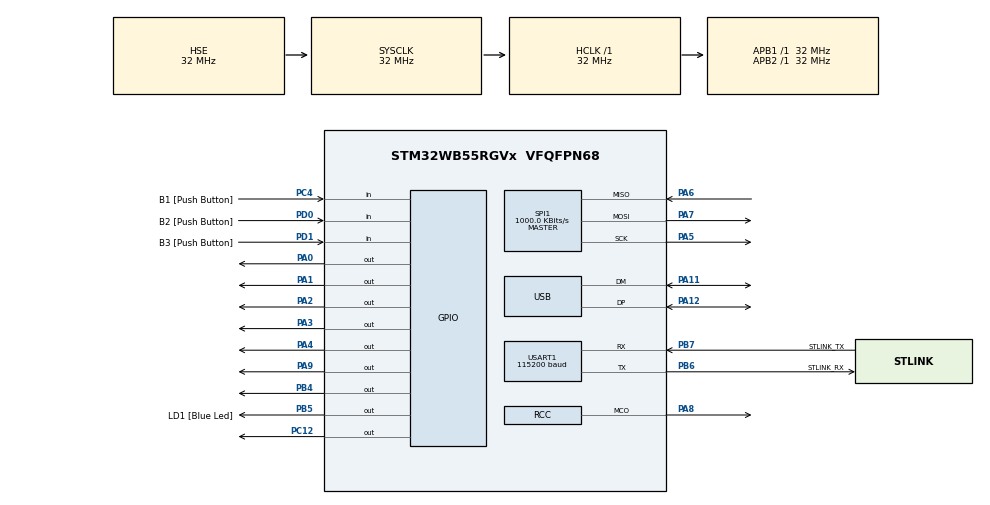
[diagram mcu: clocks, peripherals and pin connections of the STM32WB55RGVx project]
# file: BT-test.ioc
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Dma.Request0=USART1_RX
Dma.Request1=USART1_TX
Dma.USART1_RX.0.Direction=DMA_PERIPH_TO_MEMORY
Dma.USART1_RX.0.EventEnable=DISABLE
Dma.USART1_RX.0.Instance=DMA1_Channel1
Dma.USART1_RX.0.MemDataAlignment=DMA_MDATAALIGN_BYTE
Dma.USART1_RX.0.MemInc=DMA_MINC_ENABLE
Dma.USART1_RX.0.Mode=DMA_NORMAL
Dma.USART1_RX.0.PeriphDataAlignment=DMA_PDATAALIGN_BYTE
Dma.USART1_RX.0.PeriphInc=DMA_PINC_DISABLE
Dma.USART1_RX.0.Polarity=HAL_DMAMUX_REQ_GEN_RISING
Dma.USART1_RX.0.Priority=DMA_PRIORITY_LOW
Dma.USART1_RX.0.RequestNumber=1
Dma.USART1_RX.0.SignalID=NONE
Dma.USART1_RX.0.SyncEnable=DISABLE
Dma.USART1_RX.0.SyncPolarity=HAL_DMAMUX_SYNC_NO_EVENT
Dma.USART1_RX.0.SyncRequestNumber=1
Dma.USART1_RX.0.SyncSignalID=NONE
Dma.USART1_TX.1.Direction=DMA_MEMORY_TO_PERIPH
Dma.USART1_TX.1.EventEnable=DISABLE
Dma.USART1_TX.1.Instance=DMA1_Channel2
Dma.USART1_TX.1.MemDataAlignment=DMA_MDATAALIGN_BYTE
Dma.USART1_TX.1.MemInc=DMA_MINC_ENABLE
Dma.USART1_TX.1.Mode=DMA_NORMAL
Dma.USART1_TX.1.PeriphDataAlignment=DMA_PDATAALIGN_BYTE
Dma.USART1_TX.1.PeriphInc=DMA_PINC_DISABLE
Dma.USART1_TX.1.Polarity=HAL_DMAMUX_REQ_GEN_RISING
Dma.USART1_TX.1.Priority=DMA_PRIORITY_LOW
Dma.USART1_TX.1.RequestNumber=1
Dma.USART1_TX.1.SignalID=NONE
Dma.USART1_TX.1.SyncEnable=DISABLE
Dma.USART1_TX.1.SyncPolarity=HAL_DMAMUX_SYNC_NO_EVENT
Dma.USART1_TX.1.SyncRequestNumber=1
Dma.USART1_TX.1.SyncSignalID=NONE
Mcu.Family=STM32WB
Mcu.Name=STM32WB55RGVx
Mcu.Package=VFQFPN68
NVIC.DMA1_Channel1_IRQn=true\:0\:0\:false\:false\:true\:false\:true\:true
NVIC.DMA1_Channel2_IRQn=true\:0\:0\:false\:false\:true\:false\:true\:true
NVIC.HSEM_IRQn=true\:0\:0\:false\:false\:true\:false\:true\:true
NVIC.IPCC_C1_RX_IRQn=true\:0\:0\:false\:false\:true\:true\:true\:true
NVIC.IPCC_C1_TX_IRQn=true\:0\:0\:false\:false\:true\:true\:true\:true
NVIC.PriorityGroup=NVIC_PRIORITYGROUP_4
NVIC.RTC_WKUP_IRQn=true\:0\:0\:false\:false\:true\:true\:true\:true
NVIC.SPI1_IRQn=true\:0\:0\:false\:false\:true\:true\:true\:true
NVIC.USART1_IRQn=true\:0\:0\:false\:false\:true\:true\:true\:true
OSC_IN.Mode=HSE-External-Oscillator
OSC_IN.Signal=RCC_OSC_IN
OSC_OUT.Mode=HSE-External-Oscillator
OSC_OUT.Signal=RCC_OSC_OUT
PA0.Signal=GPIO_Output
PA1.Signal=GPIO_Output
PA11.Mode=Device
PA11.Signal=USB_DM
PA12.Mode=Device
PA12.Signal=USB_DP
PA13.GPIO_Label=JTMS
PA13.Mode=Serial_Wire
PA13.Signal=SYS_JTMS-SWDIO
PA14.GPIO_Label=JTCK
PA14.Mode=Serial_Wire
PA14.Signal=SYS_JTCK-SWCLK
PA2.Signal=GPIO_Output
PA3.Signal=GPIO_Output
PA4.Signal=GPIO_Output
PA5.Mode=Full_Duplex_Master
PA5.Signal=SPI1_SCK
PA6.Mode=Full_Duplex_Master
PA6.Signal=SPI1_MISO
PA7.Mode=Full_Duplex_Master
PA7.Signal=SPI1_MOSI
PA8.Mode=Clock-out
PA8.Signal=RCC_MCO
PA9.Signal=GPIO_Output
PB3.GPIO_Label=JTDO
PB3.Signal=SYS_JTDO-SWO
PB4.Signal=GPIO_Output
PB5.GPIO_Label=LD1 [Blue Led]
PB5.Signal=GPIO_Output
PB6.GPIO_Label=STLINK_RX
PB6.GPIO_PuPd=GPIO_PULLUP
PB6.Mode=Asynchronous
PB6.Signal=USART1_TX
PB7.GPIO_Label=STLINK_TX
PB7.GPIO_PuPd=GPIO_PULLUP
PB7.Mode=Asynchronous
PB7.Signal=USART1_RX
PC12.Signal=GPIO_Output
PC13.Signal=SYS_WKUP2
PC14-OSC32_IN.Mode=LSE-External-Oscillator
PC14-OSC32_IN.Signal=RCC_OSC32_IN
PC15-OSC32_OUT.Mode=LSE-External-Oscillator
PC15-OSC32_OUT.Signal=RCC_OSC32_OUT
PC4.GPIO_Label=B1 [Push Button]
PC4.Signal=GPIO_Input
PD0.GPIO_Label=B2 [Push Button]
PD0.Signal=GPIO_Input
PD1.GPIO_Label=B3 [Push Button]
PD1.Signal=GPIO_Input
ProjectManager.HeapSize=0x200
ProjectManager.StackSize=0x400
ProjectManager.TargetToolchain=STM32CubeIDE
RCC.ADCFreq_Value=48000000
RCC.AHBFreq_Value=32000000
RCC.APB1Freq_Value=32000000
RCC.APB1TimFreq_Value=32000000
RCC.APB2Freq_Value=32000000
RCC.APB2TimFreq_Value=32000000
RCC.APB3Freq_Value=16000000
RCC.CortexFreq_Value=32000000
RCC.HCLKFreq_Value=32000000
RCC.HSE_VALUE=32000000
RCC.HSI48_VALUE=48000000
RCC.HSI_VALUE=16000000
RCC.PLLN=32
RCC.PLLP=RCC_PLLP_DIV7
RCC.PLLSAI1N=24
RCC.RFWKPClockSelection=RCC_RFWKPCLKSOURCE_LSE
RCC.SMPSCLockSelectionVirtual=RCC_SMPSCLKSOURCE_HSI
RCC.SMPSCLockSelectionVirtualVirtual=RCC_SMPSCLKSOURCE_HSI
RCC.SMPSDivider=1
RCC.SYSCLKFreq_VALUE=32000000
RCC.SYSCLKSource=RCC_SYSCLKSOURCE_HSE
RCC.USBFreq_Value=48000000
RCC.VCOOutputFreq_Value=128000000
RF1.Mode=RF1_Activate
RF1.Signal=RF_RF1
SPI1.BaudRatePrescaler=SPI_BAUDRATEPRESCALER_32
SPI1.CalculateBaudRate=1000.0 KBits/s
SPI1.DataSize=SPI_DATASIZE_8BIT
SPI1.Direction=SPI_DIRECTION_2LINES
SPI1.Mode=SPI_MODE_MASTER
SPI1.NSSPMode=SPI_NSS_PULSE_DISABLE
SPI1.VirtualType=VM_MASTER
STM32_WPAN.AD_TYPE_COMPLETE_LOCAL_NAME=SMRTGLV
STM32_WPAN.AD_TYPE_COMPLETE_LOCAL_NAME_LENGTH=8
STM32_WPAN.CFG_GAP_DEVICE_NAME=smartGlv
STM32_WPAN.CUSTOM_P2P_SERVER=Disabled
STM32_WPAN.CUSTOM_TEMPLATE=Enabled
STM32_WPAN.INCLUDE_AD_TYPE_COMPLETE_LOCAL_NAME=1
STM32_WPAN.NUMBER_OF_SERVICES=1
STM32_WPAN.SERVICE1_CHAR1_LONG_NAME=fingerOne
STM32_WPAN.SERVICE1_CHAR1_PROP_NOTIFY=CHAR_PROP_NOTIFY
STM32_WPAN.SERVICE1_CHAR1_SHORT_NAME=f1
STM32_WPAN.SERVICE1_CHAR1_VALUE_LENGTH=8
STM32_WPAN.SERVICE1_CHAR2_LONG_NAME=fingerTwo
STM32_WPAN.SERVICE1_CHAR2_PROP_NOTIFY=CHAR_PROP_NOTIFY
STM32_WPAN.SERVICE1_CHAR2_SHORT_NAME=f2
STM32_WPAN.SERVICE1_CHAR2_UUID=10 00
STM32_WPAN.SERVICE1_CHAR2_VALUE_LENGTH=8
STM32_WPAN.SERVICE1_CHAR3_LONG_NAME=fingerThree
STM32_WPAN.SERVICE1_CHAR3_PROP_NOTIFY=CHAR_PROP_NOTIFY
STM32_WPAN.SERVICE1_CHAR3_SHORT_NAME=f3
STM32_WPAN.SERVICE1_CHAR3_UUID=20 00
STM32_WPAN.SERVICE1_CHAR4_LONG_NAME=fingerFour
STM32_WPAN.SERVICE1_CHAR4_PROP_NOTIFY=CHAR_PROP_NOTIFY
STM32_WPAN.SERVICE1_CHAR4_SHORT_NAME=f4
STM32_WPAN.SERVICE1_CHAR4_UUID=30 00
STM32_WPAN.SERVICE1_CHAR4_VALUE_LENGTH=8
STM32_WPAN.SERVICE1_CHAR5_LONG_NAME=thumbData
STM32_WPAN.SERVICE1_CHAR5_PROP_NOTIFY=CHAR_PROP_NOTIFY
STM32_WPAN.SERVICE1_CHAR5_SHORT_NAME=tData
STM32_WPAN.SERVICE1_CHAR5_UUID=40 00
STM32_WPAN.SERVICE1_CHAR5_VALUE_LENGTH=8
STM32_WPAN.SERVICE1_LONG_NAME=handData
STM32_WPAN.SERVICE1_NUMBER_OF_CHARACTERISTICS=5
STM32_WPAN.SERVICE1_SHORT_NAME=hnData
USART1.BaudRate=115200
USART1.VirtualMode-Asynchronous=VM_ASYNC
USART1.WordLength=WORDLENGTH_8B
VP_HSEM_VS_HSEM.Mode=HSEM_Activate
VP_IPCC_VS_IPCC.Mode=IPCC_Activate
VP_MEMORYMAP_VS_MEMORYMAP.Mode=CurAppReg
VP_RTC_VS_RTC_Activate.Mode=RTC_Enabled
VP_RTC_VS_RTC_WakeUp_intern.Mode=WakeUp
VP_SEQUENCER_VS_SEQUENCER.Mode=SEQUENCER_Enabled
VP_STM32_WPAN_VS_BLE_HOST.Mode=STM32_WPAN_Enabled
VP_TINY_LPM_VS_TINY_LPM.Mode=TINY_LPM_Enabled
board=NUCLEO-WB55RG

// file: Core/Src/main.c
/* USER CODE BEGIN Header */
/**
  ******************************************************************************
  * @file           : main.c
  * @brief          : Main program body
  ******************************************************************************
  * @attention
  *
  * Copyright (c) 2024 STMicroelectronics.
  * All rights reserved.
  *
  * This software is licensed under terms that can be found in the LICENSE file
  * in the root directory of this software component.
  * If no LICENSE file comes with this software, it is provided AS-IS.
  *
  ******************************************************************************
  */
/* USER CODE END Header */
#include "main.h"

/* USER CODE BEGIN Includes */
#include "bmi323_task.h"
#include "init.h"

/* USER CODE END Includes */

IPCC_HandleTypeDef hipcc;

RTC_HandleTypeDef hrtc;

SPI_HandleTypeDef hspi1;

UART_HandleTypeDef huart1;
DMA_HandleTypeDef hdma_usart1_rx;
DMA_HandleTypeDef hdma_usart1_tx;

PCD_HandleTypeDef hpcd_USB_FS;

void SystemClock_Config(void);
void PeriphCommonClock_Config(void);
static void MX_GPIO_Init(void);
static void MX_DMA_Init(void);
static void MX_USART1_UART_Init(void);
static void MX_USB_PCD_Init(void);
static void MX_SPI1_Init(void);
static void MX_IPCC_Init(void);
static void MX_RTC_Init(void);
static void MX_RF_Init(void);

/* USER CODE BEGIN 0 */
struct bmi3_dev dev, dev2, dev3, dev4; // dev5, dev6, dev7, dev8, dev9, dev10, dev11;
/* USER CODE END 0 */

int main(void)
{

  /* MCU Configuration--------------------------------------------------------*/

  /* Reset of all peripherals, Initializes the Flash interface and the Systick. */
  HAL_Init();
  /* Config code for STM32_WPAN (HSE Tuning must be done before system clock configuration) */
  MX_APPE_Config();

  /* Configure the system clock */
  SystemClock_Config();

/* Configure the peripherals common clocks */
  PeriphCommonClock_Config();

  /* IPCC initialisation */
  MX_IPCC_Init();

  /* Initialize all configured peripherals */
  MX_GPIO_Init();
  MX_DMA_Init();
  MX_USART1_UART_Init();
  MX_USB_PCD_Init();
  MX_SPI1_Init();
  MX_RTC_Init();
  MX_RF_Init();

  /* Init code for STM32_WPAN */
  MX_APPE_Init();

  /* Infinite loop */
  /* USER CODE BEGIN WHILE */

	int8_t rslt = BMI3_OK;
	uint8_t flag;

/* Implementation of the sensor read/write function cannot really be changed so here we go*/
	dev.read = (bmi3_read_fptr_t)SensorAPI_SPIx_Read1;
	dev.write = (bmi3_write_fptr_t)SensorAPI_SPIx_Write1;
	Init_BMI323(&dev);
	HAL_Delay(10);

	dev2.read = (bmi3_read_fptr_t)SensorAPI_SPIx_Read2;
	dev2.write = (bmi3_write_fptr_t)SensorAPI_SPIx_Write2;
	Init_BMI323(&dev2);
	HAL_Delay(10);

	dev3.read = (bmi3_read_fptr_t)SensorAPI_SPIx_Read3;
	dev3.write = (bmi3_write_fptr_t)SensorAPI_SPIx_Write3;
	Init_BMI323(&dev3);
	HAL_Delay(10);

	dev4.read = (bmi3_read_fptr_t)SensorAPI_SPIx_Read4;
	dev4.write = (bmi3_write_fptr_t)SensorAPI_SPIx_Write4;
	Init_BMI323(&dev4);
	HAL_Delay(10);

//	dev5.read = (bmi3_read_fptr_t)SensorAPI_SPIx_Read5;
//	dev5.write = (bmi3_write_fptr_t)SensorAPI_SPIx_Write5;
//	Init_BMI323(&dev);
//	HAL_Delay(10);
//
//	dev6.read = (bmi3_read_fptr_t)SensorAPI_SPIx_Read6;
//	dev6.write = (bmi3_write_fptr_t)SensorAPI_SPIx_Write6;
//	Init_BMI323(&dev);
//	HAL_Delay(10);
//
//	dev7.read = (bmi3_read_fptr_t)SensorAPI_SPIx_Read7;
//	dev7.write = (bmi3_write_fptr_t)SensorAPI_SPIx_Write7;
//	Init_BMI323(&dev);
//	HAL_Delay(10);
//
//	dev8.read = (bmi3_read_fptr_t)SensorAPI_SPIx_Read8;
//	dev8.write = (bmi3_write_fptr_t)SensorAPI_SPIx_Write8;
//	Init_BMI323(&dev);
//	HAL_Delay(10);
//
//	dev9.read = (bmi3_read_fptr_t)SensorAPI_SPIx_Read9;
//	dev9.write = (bmi3_write_fptr_t)SensorAPI_SPIx_Write9;
//	Init_BMI323(&dev);
//	HAL_Delay(10);
//
//	dev10.read = (bmi3_read_fptr_t)SensorAPI_SPIx_Read10;
//	dev10.write = (bmi3_write_fptr_t)SensorAPI_SPIx_Write10;
//	Init_BMI323(&dev);
//	HAL_Delay(10);
//
//	dev11.read = (bmi3_read_fptr_t)SensorAPI_SPIx_Read11;
//	dev11.write = (bmi3_write_fptr_t)SensorAPI_SPIx_Write11;
//	Init_BMI323(&dev);
//	HAL_Delay(10);

  while (1)
  {
    /* USER CODE END WHILE */
//    MX_APPE_Process();

    /* USER CODE BEGIN 3 */
    float data1[] = {0,0,0,0,0,0};
    float data2[] = {0,0,0,0,0,0};
    float data3[] = {0,0,0,0,0,0};
    float data4[] = {0,0,0,0,0,0};

    bmi3_get_regs(BMI3_REG_STATUS, &flag, 1, &dev);
	if((flag & 0x40) == 0) continue;
	read_sensor(dev, data1);

	bmi3_get_regs(BMI3_REG_STATUS, &flag, 1, &dev2);
	if((flag & 0x40) == 0) continue;
	read_sensor(dev2, data2);

	bmi3_get_regs(BMI3_REG_STATUS, &flag, 1, &dev3);
	if((flag & 0x40) == 0) continue;
	read_sensor(dev3, data3);

	bmi3_get_regs(BMI3_REG_STATUS, &flag, 1, &dev4);
	if((flag & 0x40) == 0) continue;
	read_sensor(dev4, data4);
	HAL_Delay(1);

//	bmi3_get_regs(BMI3_REG_STATUS, &flag, 1, &dev);
//	if((flag & 0x40) == 0) continue;
//	read_sensor(dev, data);
//	bmi3_get_regs(BMI3_REG_STATUS, &flag, 1, &dev2);
//	if((flag & 0x40) == 0) continue;
//	read_sensor(dev2, data);
//	HAL_Delay(1);
//
//	bmi3_get_regs(BMI3_REG_STATUS, &flag, 1, &dev);
//	if((flag & 0x40) == 0) continue;
//	read_sensor(dev, data);
//	bmi3_get_regs(BMI3_REG_STATUS, &flag, 1, &dev2);
//	if((flag & 0x40) == 0) continue;
//	read_sensor(dev2, data);
//	HAL_Delay(1);
//
//	bmi3_get_regs(BMI3_REG_STATUS, &flag, 1, &dev);
//	if((flag & 0x40) == 0) continue;
//	read_sensor(dev, data);
//	bmi3_get_regs(BMI3_REG_STATUS, &flag, 1, &dev2);
//	if((flag & 0x40) == 0) continue;
//	read_sensor(dev2, data);
//	HAL_Delay(1);
//
//	bmi3_get_regs(BMI3_REG_STATUS, &flag, 1, &dev);
//	if((flag & 0x40) == 0) continue;
//	read_sensor(dev, data);
//	bmi3_get_regs(BMI3_REG_STATUS, &flag, 1, &dev2);
//	if((flag & 0x40) == 0) continue;
//	read_sensor(dev2, data);
//	HAL_Delay(1);
//
//	bmi3_get_regs(BMI3_REG_STATUS, &flag, 1, &dev);
//	if((flag & 0x40) == 0) continue;
//	read_sensor(dev, data);

	PDEBUG("1:\n");
	PDEBUG("GYRO: X axis: %4.2f, Y axis: %4.2f, Z axis: %4.2f\r\n", data1[0], data1[1], data1[2]);
	PDEBUG("ACC: X axis: %4.2f, Y axis: %4.2f, Z axis: %4.2f\r\n", data1[3], data1[4], data1[5]);

	PDEBUG("2:\n");
	PDEBUG("GYRO: X axis: %4.2f, Y axis: %4.2f, Z axis: %4.2f\r\n", data2[0], data2[1], data2[2]);
	PDEBUG("ACC: X axis: %4.2f, Y axis: %4.2f, Z axis: %4.2f\r\n", data2[3], data2[4], data2[5]);

	PDEBUG("3:\n");
	PDEBUG("GYRO: X axis: %4.2f, Y axis: %4.2f, Z axis: %4.2f\r\n", data3[0], data3[1], data3[2]);
	PDEBUG("ACC: X axis: %4.2f, Y axis: %4.2f, Z axis: %4.2f\r\n", data3[3], data3[4], data3[5]);

	PDEBUG("4:\n");
	PDEBUG("GYRO: X axis: %4.2f, Y axis: %4.2f, Z axis: %4.2f\r\n", data4[0], data4[1], data4[2]);
	PDEBUG("ACC: X axis: %4.2f, Y axis: %4.2f, Z axis: %4.2f\r\n", data4[3], data4[4], data4[5]);
	HAL_Delay(500);

  }
  /* USER CODE END 3 */
}

void SystemClock_Config(void)
{
  RCC_OscInitTypeDef RCC_OscInitStruct = {0};
  RCC_ClkInitTypeDef RCC_ClkInitStruct = {0};

  /** Macro to configure the PLL multiplication factor
  */
  __HAL_RCC_PLL_PLLM_CONFIG(RCC_PLLM_DIV1);

  /** Macro to configure the PLL clock source
  */
  __HAL_RCC_PLL_PLLSOURCE_CONFIG(RCC_PLLSOURCE_MSI);

  /** Configure LSE Drive Capability
  */
  HAL_PWR_EnableBkUpAccess();
  __HAL_RCC_LSEDRIVE_CONFIG(RCC_LSEDRIVE_MEDIUMHIGH);

  /** Configure the main internal regulator output voltage
  */
  __HAL_PWR_VOLTAGESCALING_CONFIG(PWR_REGULATOR_VOLTAGE_SCALE1);

  /** Initializes the RCC Oscillators according to the specified parameters
  * in the RCC_OscInitTypeDef structure.
  */
  RCC_OscInitStruct.OscillatorType = RCC_OSCILLATORTYPE_HSI|RCC_OSCILLATORTYPE_LSI1
                              |RCC_OSCILLATORTYPE_HSE|RCC_OSCILLATORTYPE_LSE
                              |RCC_OSCILLATORTYPE_MSI;
  RCC_OscInitStruct.HSEState = RCC_HSE_ON;
  RCC_OscInitStruct.LSEState = RCC_LSE_ON;
  RCC_OscInitStruct.HSIState = RCC_HSI_ON;
  RCC_OscInitStruct.MSIState = RCC_MSI_ON;
  RCC_OscInitStruct.HSICalibrationValue = RCC_HSICALIBRATION_DEFAULT;
  RCC_OscInitStruct.MSICalibrationValue = RCC_MSICALIBRATION_DEFAULT;
  RCC_OscInitStruct.MSIClockRange = RCC_MSIRANGE_6;
  RCC_OscInitStruct.LSIState = RCC_LSI_ON;
  RCC_OscInitStruct.PLL.PLLState = RCC_PLL_NONE;
  if (HAL_RCC_OscConfig(&RCC_OscInitStruct) != HAL_OK)
  {
    Error_Handler();
  }

  /** Configure the SYSCLKSource, HCLK, PCLK1 and PCLK2 clocks dividers
  */
  RCC_ClkInitStruct.ClockType = RCC_CLOCKTYPE_HCLK4|RCC_CLOCKTYPE_HCLK2
                              |RCC_CLOCKTYPE_HCLK|RCC_CLOCKTYPE_SYSCLK
                              |RCC_CLOCKTYPE_PCLK1|RCC_CLOCKTYPE_PCLK2;
  RCC_ClkInitStruct.SYSCLKSource = RCC_SYSCLKSOURCE_HSE;
  RCC_ClkInitStruct.AHBCLKDivider = RCC_SYSCLK_DIV1;
  RCC_ClkInitStruct.APB1CLKDivider = RCC_HCLK_DIV1;
  RCC_ClkInitStruct.APB2CLKDivider = RCC_HCLK_DIV1;
  RCC_ClkInitStruct.AHBCLK2Divider = RCC_SYSCLK_DIV1;
  RCC_ClkInitStruct.AHBCLK4Divider = RCC_SYSCLK_DIV1;

  if (HAL_RCC_ClockConfig(&RCC_ClkInitStruct, FLASH_LATENCY_1) != HAL_OK)
  {
    Error_Handler();
  }
  HAL_RCC_MCOConfig(RCC_MCO1, RCC_MCO1SOURCE_SYSCLK, RCC_MCODIV_1);

  /** Enable MSI Auto calibration
  */
  HAL_RCCEx_EnableMSIPLLMode();
}

void PeriphCommonClock_Config(void)
{
  RCC_PeriphCLKInitTypeDef PeriphClkInitStruct = {0};

  /** Initializes the peripherals clock
  */
  PeriphClkInitStruct.PeriphClockSelection = RCC_PERIPHCLK_SMPS|RCC_PERIPHCLK_RFWAKEUP;
  PeriphClkInitStruct.RFWakeUpClockSelection = RCC_RFWKPCLKSOURCE_LSE;
  PeriphClkInitStruct.SmpsClockSelection = RCC_SMPSCLKSOURCE_HSI;
  PeriphClkInitStruct.SmpsDivSelection = RCC_SMPSCLKDIV_RANGE0;

  if (HAL_RCCEx_PeriphCLKConfig(&PeriphClkInitStruct) != HAL_OK)
  {
    Error_Handler();
  }
}

static void MX_IPCC_Init(void)
{

  hipcc.Instance = IPCC;
  if (HAL_IPCC_Init(&hipcc) != HAL_OK)
  {
    Error_Handler();
  }

}

static void MX_RF_Init(void)
{

}

static void MX_RTC_Init(void)
{

  /** Initialize RTC Only
  */
  hrtc.Instance = RTC;
  hrtc.Init.HourFormat = RTC_HOURFORMAT_24;
  hrtc.Init.AsynchPrediv = CFG_RTC_ASYNCH_PRESCALER;
  hrtc.Init.SynchPrediv = CFG_RTC_SYNCH_PRESCALER;
  hrtc.Init.OutPut = RTC_OUTPUT_DISABLE;
  hrtc.Init.OutPutPolarity = RTC_OUTPUT_POLARITY_HIGH;
  hrtc.Init.OutPutType = RTC_OUTPUT_TYPE_OPENDRAIN;
  hrtc.Init.OutPutRemap = RTC_OUTPUT_REMAP_NONE;
  if (HAL_RTC_Init(&hrtc) != HAL_OK)
  {
    Error_Handler();
  }

  /** Enable the WakeUp
  */
  if (HAL_RTCEx_SetWakeUpTimer_IT(&hrtc, 0, RTC_WAKEUPCLOCK_RTCCLK_DIV16) != HAL_OK)
  {
    Error_Handler();
  }

}

static void MX_SPI1_Init(void)
{

  /* SPI1 parameter configuration*/
  hspi1.Instance = SPI1;
  hspi1.Init.Mode = SPI_MODE_MASTER;
  hspi1.Init.Direction = SPI_DIRECTION_2LINES;
  hspi1.Init.DataSize = SPI_DATASIZE_8BIT;
  hspi1.Init.CLKPolarity = SPI_POLARITY_LOW;
  hspi1.Init.CLKPhase = SPI_PHASE_1EDGE;
  hspi1.Init.NSS = SPI_NSS_SOFT;
  hspi1.Init.BaudRatePrescaler = SPI_BAUDRATEPRESCALER_32;
  hspi1.Init.FirstBit = SPI_FIRSTBIT_MSB;
  hspi1.Init.TIMode = SPI_TIMODE_DISABLE;
  hspi1.Init.CRCCalculation = SPI_CRCCALCULATION_DISABLE;
  hspi1.Init.CRCPolynomial = 7;
  hspi1.Init.CRCLength = SPI_CRC_LENGTH_DATASIZE;
  hspi1.Init.NSSPMode = SPI_NSS_PULSE_DISABLE;
  if (HAL_SPI_Init(&hspi1) != HAL_OK)
  {
    Error_Handler();
  }

}

static void MX_USART1_UART_Init(void)
{

  huart1.Instance = USART1;
  huart1.Init.BaudRate = 115200;
  huart1.Init.WordLength = UART_WORDLENGTH_8B;
  huart1.Init.StopBits = UART_STOPBITS_1;
  huart1.Init.Parity = UART_PARITY_NONE;
  huart1.Init.Mode = UART_MODE_TX_RX;
  huart1.Init.HwFlowCtl = UART_HWCONTROL_NONE;
  huart1.Init.OverSampling = UART_OVERSAMPLING_16;
  huart1.Init.OneBitSampling = UART_ONE_BIT_SAMPLE_DISABLE;
  huart1.Init.ClockPrescaler = UART_PRESCALER_DIV1;
  huart1.AdvancedInit.AdvFeatureInit = UART_ADVFEATURE_NO_INIT;
  if (HAL_UART_Init(&huart1) != HAL_OK)
  {
    Error_Handler();
  }
  if (HAL_UARTEx_SetTxFifoThreshold(&huart1, UART_TXFIFO_THRESHOLD_1_8) != HAL_OK)
  {
    Error_Handler();
  }
  if (HAL_UARTEx_SetRxFifoThreshold(&huart1, UART_RXFIFO_THRESHOLD_1_8) != HAL_OK)
  {
    Error_Handler();
  }
  if (HAL_UARTEx_DisableFifoMode(&huart1) != HAL_OK)
  {
    Error_Handler();
  }

}

static void MX_USB_PCD_Init(void)
{

  hpcd_USB_FS.Instance = USB;
  hpcd_USB_FS.Init.dev_endpoints = 8;
  hpcd_USB_FS.Init.speed = PCD_SPEED_FULL;
  hpcd_USB_FS.Init.phy_itface = PCD_PHY_EMBEDDED;
  hpcd_USB_FS.Init.Sof_enable = DISABLE;
  hpcd_USB_FS.Init.low_power_enable = DISABLE;
  hpcd_USB_FS.Init.lpm_enable = DISABLE;
  hpcd_USB_FS.Init.battery_charging_enable = DISABLE;
  if (HAL_PCD_Init(&hpcd_USB_FS) != HAL_OK)
  {
    Error_Handler();
  }

}

static void MX_DMA_Init(void)
{

  /* DMA controller clock enable */
  __HAL_RCC_DMAMUX1_CLK_ENABLE();
  __HAL_RCC_DMA1_CLK_ENABLE();

  /* DMA interrupt init */
  /* DMA1_Channel1_IRQn interrupt configuration */
  HAL_NVIC_SetPriority(DMA1_Channel1_IRQn, 0, 0);
  HAL_NVIC_EnableIRQ(DMA1_Channel1_IRQn);
  /* DMA1_Channel2_IRQn interrupt configuration */
  HAL_NVIC_SetPriority(DMA1_Channel2_IRQn, 0, 0);
  HAL_NVIC_EnableIRQ(DMA1_Channel2_IRQn);

}

static void MX_GPIO_Init(void)
{
  GPIO_InitTypeDef GPIO_InitStruct = {0};

  /* GPIO Ports Clock Enable */
  __HAL_RCC_GPIOC_CLK_ENABLE();
  __HAL_RCC_GPIOA_CLK_ENABLE();
  __HAL_RCC_GPIOD_CLK_ENABLE();
  __HAL_RCC_GPIOB_CLK_ENABLE();

  /*Configure GPIO pin Output Level */
  HAL_GPIO_WritePin(GPIOA, GPIO_PIN_0|GPIO_PIN_1|GPIO_PIN_2|GPIO_PIN_3
                          |GPIO_PIN_4|GPIO_PIN_9, GPIO_PIN_RESET);

  /*Configure GPIO pin Output Level */
  HAL_GPIO_WritePin(GPIOC, GPIO_PIN_12, GPIO_PIN_RESET);

  /*Configure GPIO pin Output Level */
  HAL_GPIO_WritePin(GPIOB, GPIO_PIN_4|LD1_Pin, GPIO_PIN_RESET);

  /*Configure GPIO pins : PA0 PA1 PA2 PA3
                           PA4 PA9 */
  GPIO_InitStruct.Pin = GPIO_PIN_0|GPIO_PIN_1|GPIO_PIN_2|GPIO_PIN_3
                          |GPIO_PIN_4|GPIO_PIN_9;
  GPIO_InitStruct.Mode = GPIO_MODE_OUTPUT_PP;
  GPIO_InitStruct.Pull = GPIO_NOPULL;
  GPIO_InitStruct.Speed = GPIO_SPEED_FREQ_LOW;
  HAL_GPIO_Init(GPIOA, &GPIO_InitStruct);

  /*Configure GPIO pin : PA8 */
  GPIO_InitStruct.Pin = GPIO_PIN_8;
  GPIO_InitStruct.Mode = GPIO_MODE_AF_PP;
  GPIO_InitStruct.Pull = GPIO_NOPULL;
  GPIO_InitStruct.Speed = GPIO_SPEED_FREQ_LOW;
  GPIO_InitStruct.Alternate = GPIO_AF0_MCO;
  HAL_GPIO_Init(GPIOA, &GPIO_InitStruct);

  /*Configure GPIO pin : B1_Pin */
  GPIO_InitStruct.Pin = B1_Pin;
  GPIO_InitStruct.Mode = GPIO_MODE_INPUT;
  GPIO_InitStruct.Pull = GPIO_NOPULL;
  HAL_GPIO_Init(B1_GPIO_Port, &GPIO_InitStruct);

  /*Configure GPIO pin : PC12 */
  GPIO_InitStruct.Pin = GPIO_PIN_12;
  GPIO_InitStruct.Mode = GPIO_MODE_OUTPUT_PP;
  GPIO_InitStruct.Pull = GPIO_NOPULL;
  GPIO_InitStruct.Speed = GPIO_SPEED_FREQ_LOW;
  HAL_GPIO_Init(GPIOC, &GPIO_InitStruct);

  /*Configure GPIO pins : B2_Pin B3_Pin */
  GPIO_InitStruct.Pin = B2_Pin|B3_Pin;
  GPIO_InitStruct.Mode = GPIO_MODE_INPUT;
  GPIO_InitStruct.Pull = GPIO_NOPULL;
  HAL_GPIO_Init(GPIOD, &GPIO_InitStruct);

  /*Configure GPIO pins : PB4 LD1_Pin */
  GPIO_InitStruct.Pin = GPIO_PIN_4|LD1_Pin;
  GPIO_InitStruct.Mode = GPIO_MODE_OUTPUT_PP;
  GPIO_InitStruct.Pull = GPIO_NOPULL;
  GPIO_InitStruct.Speed = GPIO_SPEED_FREQ_LOW;
  HAL_GPIO_Init(GPIOB, &GPIO_InitStruct);

}

void Error_Handler(void)
{
  __disable_irq();
  while (1)
  {
  }
}
